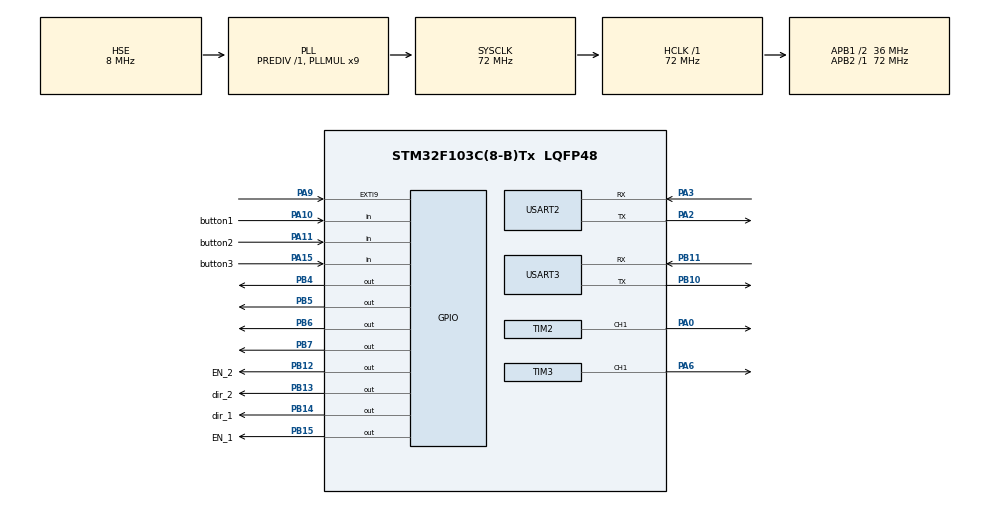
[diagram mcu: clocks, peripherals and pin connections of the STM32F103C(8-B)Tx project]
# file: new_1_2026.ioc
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Dma.Request0=USART2_RX
Dma.Request1=USART2_TX
Dma.USART2_RX.0.Direction=DMA_PERIPH_TO_MEMORY
Dma.USART2_RX.0.Instance=DMA1_Channel6
Dma.USART2_RX.0.MemDataAlignment=DMA_MDATAALIGN_BYTE
Dma.USART2_RX.0.MemInc=DMA_MINC_ENABLE
Dma.USART2_RX.0.Mode=DMA_NORMAL
Dma.USART2_RX.0.PeriphDataAlignment=DMA_PDATAALIGN_BYTE
Dma.USART2_RX.0.PeriphInc=DMA_PINC_DISABLE
Dma.USART2_RX.0.Priority=DMA_PRIORITY_LOW
Dma.USART2_TX.1.Direction=DMA_MEMORY_TO_PERIPH
Dma.USART2_TX.1.Instance=DMA1_Channel7
Dma.USART2_TX.1.MemDataAlignment=DMA_MDATAALIGN_BYTE
Dma.USART2_TX.1.MemInc=DMA_MINC_ENABLE
Dma.USART2_TX.1.Mode=DMA_NORMAL
Dma.USART2_TX.1.PeriphDataAlignment=DMA_PDATAALIGN_BYTE
Dma.USART2_TX.1.PeriphInc=DMA_PINC_DISABLE
Dma.USART2_TX.1.Priority=DMA_PRIORITY_LOW
Mcu.Family=STM32F1
Mcu.Name=STM32F103C(8-B)Tx
Mcu.Package=LQFP48
NVIC.DMA1_Channel6_IRQn=true\:0\:0\:false\:false\:true\:false\:true\:true
NVIC.DMA1_Channel7_IRQn=true\:0\:0\:false\:false\:true\:false\:true\:true
NVIC.EXTI9_5_IRQn=true\:0\:0\:false\:false\:true\:true\:true\:true
NVIC.PriorityGroup=NVIC_PRIORITYGROUP_4
NVIC.TIM4_IRQn=true\:0\:0\:false\:false\:true\:true\:true\:true
NVIC.USART2_IRQn=true\:0\:0\:false\:false\:true\:true\:true\:true
PA0-WKUP.Signal=S_TIM2_CH1_ETR
PA10.GPIO_Label=button1
PA10.GPIO_PuPd=GPIO_PULLDOWN
PA10.Signal=GPIO_Input
PA11.GPIO_Label=button2
PA11.GPIO_PuPd=GPIO_PULLDOWN
PA11.Signal=GPIO_Input
PA13.Mode=Serial_Wire
PA13.Signal=SYS_JTMS-SWDIO
PA14.Mode=Serial_Wire
PA14.Signal=SYS_JTCK-SWCLK
PA15.GPIO_Label=button3
PA15.GPIO_PuPd=GPIO_PULLDOWN
PA15.Signal=GPIO_Input
PA2.Mode=Asynchronous
PA2.Signal=USART2_TX
PA3.Mode=Asynchronous
PA3.Signal=USART2_RX
PA6.Signal=S_TIM3_CH1
PA9.GPIO_PuPd=GPIO_PULLDOWN
PA9.Signal=GPXTI9
PB10.Mode=Asynchronous
PB10.Signal=USART3_TX
PB11.Mode=Asynchronous
PB11.Signal=USART3_RX
PB12.GPIO_Label=EN_2
PB12.Signal=GPIO_Output
PB13.GPIO_Label=dir_2
PB13.Signal=GPIO_Output
PB14.GPIO_Label=dir_1
PB14.Signal=GPIO_Output
PB15.GPIO_Label=EN_1
PB15.Signal=GPIO_Output
PB4.Signal=GPIO_Output
PB5.Signal=GPIO_Output
PB6.Signal=GPIO_Output
PB7.Signal=GPIO_Output
PD0-OSC_IN.Mode=HSE-External-Oscillator
PD0-OSC_IN.Signal=RCC_OSC_IN
PD1-OSC_OUT.Mode=HSE-External-Oscillator
PD1-OSC_OUT.Signal=RCC_OSC_OUT
ProjectManager.HeapSize=0x200
ProjectManager.StackSize=0x400
ProjectManager.TargetToolchain=MDK-ARM V5.32
RCC.AHBFreq_Value=72000000
RCC.APB1CLKDivider=RCC_HCLK_DIV2
RCC.APB1Freq_Value=36000000
RCC.APB1TimFreq_Value=72000000
RCC.APB2Freq_Value=72000000
RCC.APB2TimFreq_Value=72000000
RCC.HCLKFreq_Value=72000000
RCC.PLLMUL=RCC_PLL_MUL9
RCC.PLLSourceVirtual=RCC_PLLSOURCE_HSE
RCC.SYSCLKFreq_VALUE=72000000
RCC.SYSCLKSource=RCC_SYSCLKSOURCE_PLLCLK
RCC.USBFreq_Value=72000000
SH.S_TIM2_CH1_ETR.0=TIM2_CH1,PWM Generation1 CH1
SH.S_TIM3_CH1.0=TIM3_CH1,PWM Generation1 CH1
TIM2.Channel-PWM\ Generation1\ CH1=TIM_CHANNEL_1
TIM2.Period=1000-1
TIM2.Prescaler=72-1
TIM3.Channel-PWM\ Generation1\ CH1=TIM_CHANNEL_1
TIM3.Period=1000-1
TIM3.Prescaler=72-1
TIM4.Prescaler=7200-1
USART2.VirtualMode=VM_ASYNC
USART3.VirtualMode=VM_ASYNC
VP_TIM2_VS_ClockSourceINT.Mode=Internal
VP_TIM3_VS_ClockSourceINT.Mode=Internal
VP_TIM4_VS_ClockSourceINT.Mode=Internal
board=custom

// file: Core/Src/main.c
/* USER CODE BEGIN Header */
/**
  ******************************************************************************
  * @file           : main.c
  * @brief          : Main program body
  ******************************************************************************
  * @attention
  *
  * Copyright (c) 2026 STMicroelectronics.
  * All rights reserved.
  *
  * This software is licensed under terms that can be found in the LICENSE file
  * in the root directory of this software component.
  * If no LICENSE file comes with this software, it is provided AS-IS.
  *
  ******************************************************************************
  */
/* USER CODE END Header */
#include "main.h"
#include "dma.h"
#include "tim.h"
#include "usart.h"
#include "gpio.h"

/* USER CODE BEGIN Includes */
#include "OLED.h"
#include "mpu6050.h"
#include "inv_mpu.h"
#include "stdio.h"
#include "string.h"
#include "math.h"
#include "pid.h"
#include "keyboard.h"
/* USER CODE END Includes */

/* USER CODE BEGIN PTD */
#define base 100000
#define err_angle 2
#define pulse_width 5
#define compsation_constant 0.01
/* USER CODE END PTD */

void SystemClock_Config(void);

/* USER CODE BEGIN 0 */
uint8_t rx_massage[50];
int x_point=120;
int y_point=120;
int compensation_value,compensation_Z;
int statue=0;
void HAL_UARTEx_RxEventCallback(UART_HandleTypeDef *huart, uint16_t Size)
{
	if(huart==&huart2)
	{
		x_point=0;
		y_point=0;
		if(rx_massage[0]=='P' && rx_massage[1]=='C' && rx_massage[2]=='E' && rx_massage[3]=='N')
		{
			x_point=(rx_massage[5]-'0')*100+(rx_massage[6]-'0')*10+(rx_massage[7]-'0')*1;
			y_point=(rx_massage[9]-'0')*100+(rx_massage[10]-'0')*10+(rx_massage[11]-'0')*1;
		}
		HAL_UARTEx_ReceiveToIdle_DMA(&huart2,rx_massage,100);
	}
}

void HAL_GPIO_EXTI_Callback(uint16_t GPIO_Pin)
{
	if(GPIO_Pin==GPIO_PIN_9)
	{
		statue=1;
	}
}

void speed_step_motor1(int speed_in,int init_num)
{
	int speed;
	if(speed_in>0)
	{
		TIM2->CCR1=pulse_width;
		HAL_GPIO_WritePin(GPIOB,GPIO_PIN_12,1);
		HAL_GPIO_WritePin(GPIOB,GPIO_PIN_14,1);
		speed=init_num/speed_in;
		if(speed<500){TIM2->ARR=200;}
		else					{TIM2->ARR=speed;}
	}
	else if(speed_in<0)
	{
		TIM3->CCR1=pulse_width;
		HAL_GPIO_WritePin(GPIOB,GPIO_PIN_12,1);
		HAL_GPIO_WritePin(GPIOB,GPIO_PIN_14,0);
		speed_in=-speed_in;
		speed=init_num/speed_in;
		if(speed<500){TIM2->ARR=200;}
		else 					{TIM2->ARR=speed;}
	}
	else
	{
		TIM2->CCR1=0;
		HAL_GPIO_WritePin(GPIOB,GPIO_PIN_12,0);
		HAL_GPIO_WritePin(GPIOB,GPIO_PIN_14,1);
		TIM2->ARR=65535;
	}
}
PID yaw_control;
PID visual_control;
PID visual_control_2;
void speed_step_motor2(int speed_in,int init_num)
{
	int speed;
	if(speed_in>0)
	{
		TIM3->CCR1=pulse_width;
		HAL_GPIO_WritePin(GPIOB,GPIO_PIN_12,1);
		HAL_GPIO_WritePin(GPIOB,GPIO_PIN_13,0);
		speed=init_num/speed_in;
		if(speed<500){TIM3->ARR=200;}
		else					{TIM3->ARR=speed;}
	}
	else if(speed_in<0)
	{
		TIM3->CCR1=pulse_width;
		HAL_GPIO_WritePin(GPIOB,GPIO_PIN_12,1);
		HAL_GPIO_WritePin(GPIOB,GPIO_PIN_13,1);
		speed_in=-speed_in;
		speed=init_num/speed_in;
		if(speed<500){TIM3->ARR=200;}
		else 					{TIM3->ARR=speed;}
	}
	else
	{
		TIM3->CCR1=0;
		HAL_GPIO_WritePin(GPIOB,GPIO_PIN_13,1);
		TIM3->ARR=65535;
		HAL_GPIO_WritePin(GPIOB,GPIO_PIN_12,0);
	}
}
void DISP_ANGLE_POINT(float pitch,float yaw,float roll,int x,int y)
{
	char massage[20];
	OLED_ShowNum(1,1,x,3);
	OLED_ShowNum(1,6,y,3);
	sprintf(massage,"pitch: %.1f",pitch);
	OLED_ShowString(2,1,massage);
	sprintf(massage,"yaw: %.1f",yaw);
	OLED_ShowString(3,1,massage);
	sprintf(massage,"roll: %.1f",roll);
	OLED_ShowString(4,1,massage);
}
void DISP_POINT_SPEED(int x,int y,int speed,int speed2)
{
	char massage[20];
	OLED_ShowString(1,1,"MODE2");
	OLED_ShowNum(2,1,x,3);
	OLED_ShowNum(2,6,y,3);
	sprintf(massage,"speed: %d",speed);
	OLED_ShowString(3,1,massage);
	sprintf(massage,"speed2: %d",speed2);
	OLED_ShowString(4,1,massage);
}
void DISP_POINT_GYRO(int x_point_,int y_point_,int speed)
{
	char massage[20];
	OLED_ShowNum(1,1,x_point_,3);
	OLED_ShowNum(1,6,y_point_      ,3);
	sprintf(massage,"speed: %d",speed);
	OLED_ShowString(2,1,massage);
}
/* USER CODE END 0 */

int main(void)
{

  /* MCU Configuration--------------------------------------------------------*/

  /* Reset of all peripherals, Initializes the Flash interface and the Systick. */
  HAL_Init();

  /* USER CODE BEGIN Init */
	short x,y,z;
	float pitch,roll,yall;
	int speed;
	int speed_2;
	int MODE;
	int counter=0;
	int button;
	char massage[20];
	int speed_sum;
	int time;
  /* USER CODE END Init */

  /* Configure the system clock */
  SystemClock_Config();

  /* Initialize all configured peripherals */
  MX_GPIO_Init();
  MX_DMA_Init();
  MX_TIM2_Init();
  MX_TIM3_Init();
  MX_TIM4_Init();
  MX_USART2_UART_Init();
  MX_USART3_UART_Init();
  /* USER CODE BEGIN 2 */
	HAL_UARTEx_ReceiveToIdle_DMA(&huart2,rx_massage,100);
	HAL_TIM_PWM_Start(&htim2,TIM_CHANNEL_1);
	HAL_TIM_PWM_Start(&htim3,TIM_CHANNEL_1);
//	HAL_GPIO_WritePin(GPIOB,GPIO_PIN_15,0);
//	HAL_GPIO_WritePin(GPIOB,GPIO_PIN_12,0);

	OLED_Init();
	MPU_Init();

	PID_Init(&yaw_control,DELTA,100,1000,3.0,0.01,0.2);
	OLED_ShowString(1,1,"waiting");
	OLED_ShowString(1,1,"       ");
	mpu_dmp_init();
	HAL_Delay(100);
  /* USER CODE END 2 */

  /* Infinite loop */
  while (1)
  {

    /* USER CODE BEGIN 3 */
//		mpu_dmp_get_data(&pitch,&roll,&yall);
//		MPU_Get_Gyroscope(&x,&y,&z);
//		DISP_ANGLE_POINT(pitch,yall,roll,x_point,y_point);
//		if(yall<err_angle && yall>-err_angle){speed=0;}
//		else{speed=PID_Calculate(&yaw_control,yall,0);}
//		OLED_ShowString(1,1,massage);
//		speed_step_motor2(speed,base);

		OLED_Clear();
		MPU_Init();
		mpu_dmp_init();
		 HAL_Delay(100);
		while(1)
		{
			statue=0;
			OLED_ShowString(1,1,"MODE CHOOSE");
			OLED_ShowString(2,1,"MODE1");
			OLED_ShowString(3,1,"MODE2");
			OLED_ShowString(4,1,"MODE3");
			if(HAL_GPIO_ReadPin(GPIOA,GPIO_PIN_10)==GPIO_PIN_SET)
			{
				while(HAL_GPIO_ReadPin(GPIOA,GPIO_PIN_10)==GPIO_PIN_SET){}
				MODE=1;
				break;
			}
			else if(HAL_GPIO_ReadPin(GPIOA,GPIO_PIN_11)==GPIO_PIN_SET)
			{
				while(HAL_GPIO_ReadPin(GPIOA,GPIO_PIN_11)==GPIO_PIN_SET){}
				MODE=2;
				break;
			}
			else if(HAL_GPIO_ReadPin(GPIOA,GPIO_PIN_15)==GPIO_PIN_SET)
			{
				while(HAL_GPIO_ReadPin(GPIOA,GPIO_PIN_15)==GPIO_PIN_SET){}
				MODE=3;
				break;
			}

//			button=main_manu();
//			if(button==1){
//				counter++;
//				if(counter>=4){counter=1;}
//			}
//			else if(button==2){
//				counter--;
//				if(counter==0){counter=3;}
//			}
//			else if(button==3){
//				MODE=counter;
//				break;
//			}
		}
		OLED_Clear();
		switch(MODE)
		{
			case 1:{PID_Init(&yaw_control,DELTA,100,1000,24.0,0.01,0.2);//division 256 p=24,divison 16 p=3
							while(statue==0)
							{
							mpu_dmp_get_data(&pitch,&roll,&yall);
							MPU_Get_Gyroscope(&x,&y,&z);
							DISP_ANGLE_POINT(pitch,yall,roll,x_point,y_point);
							if(yall<err_angle && yall>-err_angle){speed=0;}
							else{speed=PID_Calculate(&yaw_control,yall,0);}
							OLED_ShowString(1,1,massage);
							speed_step_motor2(speed,base);}}TIM3->CCR1=0;break;
			case 2:{
							PID_Init(&visual_control_2,DELTA,30,30,4,0,0.0002);//division 256 p=4.0,divison 16 p=0.5
							PID_Init(&visual_control,DELTA,30,100,5,0,0.0002);	 //division 256 p=4.0,divison 16 p=0.5
							while(statue==0)
							{
								if(x_point<=122 && x_point>=118 && y_point<=122 && y_point>=118)
								{
									speed=0;
									speed_2=0;
								}
								else if(x_point>122 && x_point<118 && y_point<=122 && y_point>=118)
								{
									speed=PID_Calculate(&visual_control,x_point,120);
									speed_2=0;
								}
								else if(x_point<=122 && x_point>=118 && y_point>122 && y_point<118)
								{
									speed=0;
									speed_2=PID_Calculate(&visual_control_2,y_point,120);
								}
								else
								{
									speed=PID_Calculate(&visual_control,x_point,120);
									speed_2=PID_Calculate(&visual_control_2,y_point,120);
								}
//							if(x_point<122 && x_point>118){speed=0;}
//							else{speed=PID_Calculate(&visual_control,x_point,120);}
//
//							if(y_point<122 && y_point>118){speed_2=0;}
//							else{speed_2=PID_Calculate(&visual_control_2,y_point,120);}

							DISP_POINT_SPEED(x_point,y_point,speed,speed_2);
							speed_step_motor2(speed,base);
							speed_step_motor1(speed_2,base);

							}}TIM3->CCR1=0;TIM2->CCR1=0;break;

			case 3:{PID_Init(&visual_control,DELTA,30,100,4.0,0,0.0001);	//division 256 p=4.0,divison 16 p=0.5
							while(statue==0)
							{MPU_Get_Gyroscope(&x,&y,&z);
							sprintf(massage,"%d",z);
							OLED_ShowString(4,1,massage);
							compensation_Z=z;
							compensation_value=compensation_Z*compsation_constant;

							if(x_point<122 && x_point>118){speed=0;}
							else{speed=PID_Calculate(&visual_control,x_point,120);}

							time=SystemCoreClock;
							speed_sum=compensation_value+speed;
							DISP_POINT_GYRO(x_point,y_point,speed_sum);
							speed_step_motor2(speed_sum,base);}
							}TIM3->CCR1=0;break;
		}

  }
  /* USER CODE END 3 */
}

void SystemClock_Config(void)
{
  RCC_OscInitTypeDef RCC_OscInitStruct = {0};
  RCC_ClkInitTypeDef RCC_ClkInitStruct = {0};

  /** Initializes the RCC Oscillators according to the specified parameters
  * in the RCC_OscInitTypeDef structure.
  */
  RCC_OscInitStruct.OscillatorType = RCC_OSCILLATORTYPE_HSE;
  RCC_OscInitStruct.HSEState = RCC_HSE_ON;
  RCC_OscInitStruct.HSEPredivValue = RCC_HSE_PREDIV_DIV1;
  RCC_OscInitStruct.HSIState = RCC_HSI_ON;
  RCC_OscInitStruct.PLL.PLLState = RCC_PLL_ON;
  RCC_OscInitStruct.PLL.PLLSource = RCC_PLLSOURCE_HSE;
  RCC_OscInitStruct.PLL.PLLMUL = RCC_PLL_MUL9;
  if (HAL_RCC_OscConfig(&RCC_OscInitStruct) != HAL_OK)
  {
    Error_Handler();
  }

  /** Initializes the CPU, AHB and APB buses clocks
  */
  RCC_ClkInitStruct.ClockType = RCC_CLOCKTYPE_HCLK|RCC_CLOCKTYPE_SYSCLK
                              |RCC_CLOCKTYPE_PCLK1|RCC_CLOCKTYPE_PCLK2;
  RCC_ClkInitStruct.SYSCLKSource = RCC_SYSCLKSOURCE_PLLCLK;
  RCC_ClkInitStruct.AHBCLKDivider = RCC_SYSCLK_DIV1;
  RCC_ClkInitStruct.APB1CLKDivider = RCC_HCLK_DIV2;
  RCC_ClkInitStruct.APB2CLKDivider = RCC_HCLK_DIV1;

  if (HAL_RCC_ClockConfig(&RCC_ClkInitStruct, FLASH_LATENCY_2) != HAL_OK)
  {
    Error_Handler();
  }
}

void Error_Handler(void)
{
  __disable_irq();
  while (1)
  {
  }
}
